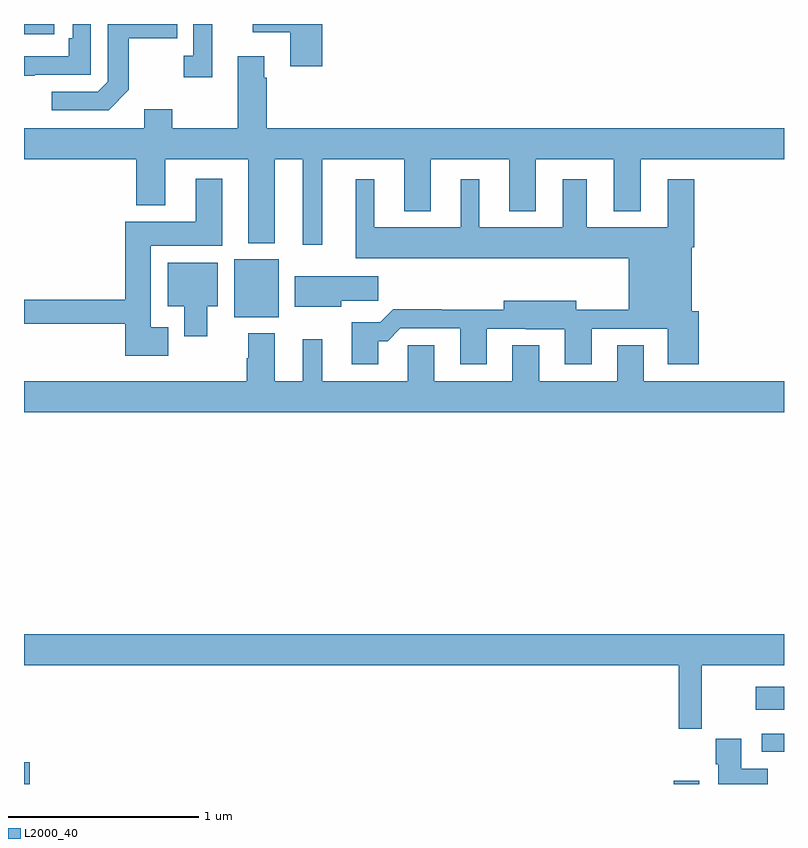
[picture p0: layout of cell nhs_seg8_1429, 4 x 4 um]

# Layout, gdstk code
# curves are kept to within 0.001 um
import gdstk
lib = gdstk.Library(unit=1e-6, precision=1e-09)
def R(c, l, rs):  # rectangles x0, y0, x1, y1
    for r in rs: c.add(gdstk.rectangle(r[:2], r[2:], *l))
def P(c, l, *ps):  # polygons
    for p in ps: c.add(gdstk.Polygon(p, *l))
L2000_40 = (2000, 40)

nhs_seg8_1429 = lib.new_cell('nhs_seg8_1429')
R(nhs_seg8_1429, L2000_40, [(203,1091.9,203.029,1092.014), (206.42,1091.9,206.554,1091.917), (206.883,1092.069,207,1092.165), (206.85,1092.29,207,1092.412), (204.107,1094.357,204.34,1094.662), (203,1095.846,203.158,1095.9)])
P(nhs_seg8_1429, L2000_40, [(203.057,1095.633),(203.352,1095.633),(203.352,1095.9),(203.256,1095.9),(203.256,1095.826),(203.236,1095.826),(203.236,1095.729),(203,1095.729),(203,1095.628),(203.057,1095.628)],
  [(203.99,1095.9),(203.892,1095.9),(203.892,1095.734),(203.841,1095.734),(203.841,1095.621),(203.99,1095.621)],
  [(203.551,1095.553),(203.551,1095.826),(203.807,1095.826),(203.807,1095.9),(203.442,1095.9),(203.442,1095.597),(203.388,1095.543),(203.145,1095.543),(203.145,1095.447),(203.445,1095.447)],
  [(204.569,1095.9),(204.204,1095.9),(204.204,1095.857),(204.401,1095.857),(204.401,1095.678),(204.569,1095.678)],
  [(204.571,1095.188),(205.001,1095.188),(205.001,1094.915),(205.141,1094.915),(205.141,1095.188),(205.553,1095.188),(205.553,1094.915),(205.693,1094.915),(205.693,1095.188),(206.105,1095.188),(206.105,1094.915),(206.245,1094.915),(206.245,1095.188),(207,1095.188),(207,1095.352),(204.278,1095.352),(204.278,1095.617),(204.265,1095.617),(204.265,1095.73),(204.125,1095.73),(204.125,1095.352),(203.781,1095.352),(203.781,1095.451),(203.633,1095.451),(203.633,1095.352),(203,1095.352),(203,1095.188),(203.591,1095.188),(203.591,1094.945),(203.743,1094.945),(203.743,1095.188),(204.179,1095.188),(204.179,1094.747),(204.319,1094.747),(204.319,1095.188),(204.467,1095.188),(204.467,1094.739),(204.571,1094.739)],
  [(203.758,1094.305),(203.668,1094.305),(203.668,1094.732),(204.043,1094.732),(204.043,1095.085),(203.903,1095.085),(203.903,1094.86),(203.534,1094.86),(203.534,1094.45),(203,1094.45),(203,1094.322),(203.534,1094.322),(203.534,1094.153),(203.758,1094.153)],
  [(204.865,1094.231),(204.914,1094.231),(204.981,1094.298),(205.295,1094.298),(205.295,1094.109),(205.435,1094.109),(205.435,1094.295),(205.847,1094.294),(205.847,1094.109),(205.987,1094.109),(205.987,1094.295),(206.387,1094.295),(206.387,1094.109),(206.552,1094.109),(206.552,1094.388),(206.515,1094.388),(206.515,1094.726),(206.528,1094.726),(206.528,1095.082),(206.387,1095.082),(206.387,1094.83),(205.963,1094.83),(205.963,1095.082),(205.835,1095.082),(205.835,1094.83),(205.396,1094.83),(205.396,1095.082),(205.298,1095.082),(205.298,1094.83),(204.844,1094.83),(204.844,1095.082),(204.746,1095.082),(204.746,1094.666),(206.183,1094.666),(206.183,1094.396),(205.906,1094.396),(205.906,1094.443),(205.526,1094.443),(205.526,1094.396),(205.199,1094.396),(205.199,1094.399),(204.944,1094.399),(204.874,1094.329),(204.725,1094.329),(204.725,1094.109),(204.865,1094.109)],
  [(203.965,1094.414),(204.019,1094.414),(204.019,1094.644),(203.756,1094.644),(203.756,1094.414),(203.843,1094.414),(203.843,1094.256),(203.965,1094.256)],
  [(204.67,1094.443),(204.865,1094.443),(204.865,1094.572),(204.426,1094.572),(204.426,1094.411),(204.67,1094.411)],
  [(207,1094.02),(206.263,1094.02),(206.263,1094.21),(206.123,1094.21),(206.123,1094.02),(205.711,1094.02),(205.711,1094.209),(205.571,1094.209),(205.571,1094.02),(205.159,1094.02),(205.159,1094.21),(205.02,1094.21),(205.02,1094.02),(204.571,1094.02),(204.571,1094.242),(204.467,1094.242),(204.467,1094.02),(204.319,1094.02),(204.319,1094.272),(204.179,1094.272),(204.179,1094.141),(204.172,1094.141),(204.172,1094.02),(203,1094.02),(203,1093.856),(207,1093.856)],
  [(206.567,1092.524),(207,1092.524),(207,1092.688),(203,1092.688),(203,1092.524),(206.446,1092.524),(206.446,1092.192),(206.567,1092.192)],
  [(206.915,1091.98),(206.776,1091.98),(206.776,1092.139),(206.642,1092.139),(206.642,1092.004),(206.654,1092.004),(206.654,1091.9),(206.915,1091.9)])

lib.write_gds('nhs_seg8_1429.gds')
